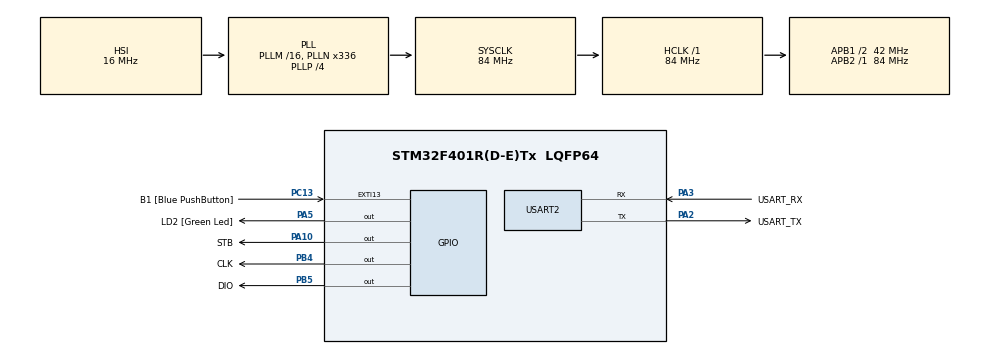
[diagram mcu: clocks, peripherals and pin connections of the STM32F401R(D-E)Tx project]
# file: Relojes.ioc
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Mcu.Family=STM32F4
Mcu.Name=STM32F401R(D-E)Tx
Mcu.Package=LQFP64
NVIC.PriorityGroup=NVIC_PRIORITYGROUP_4
PA10.GPIO_Label=STB
PA10.Signal=GPIO_Output
PA13.GPIO_Label=TMS
PA13.Mode=Trace_Asynchronous_SW
PA13.Signal=SYS_JTMS-SWDIO
PA14.GPIO_Label=TCK
PA14.Mode=Trace_Asynchronous_SW
PA14.Signal=SYS_JTCK-SWCLK
PA2.GPIO_Label=USART_TX
PA2.GPIO_Mode=GPIO_MODE_AF_PP
PA2.GPIO_PuPd=GPIO_NOPULL
PA2.GPIO_Speed=GPIO_SPEED_FREQ_LOW
PA2.Mode=Asynchronous
PA2.Signal=USART2_TX
PA3.GPIO_Label=USART_RX
PA3.GPIO_Mode=GPIO_MODE_AF_PP
PA3.GPIO_PuPd=GPIO_NOPULL
PA3.GPIO_Speed=GPIO_SPEED_FREQ_LOW
PA3.Mode=Asynchronous
PA3.Signal=USART2_RX
PA5.GPIO_Label=LD2 [Green Led]
PA5.GPIO_Mode=GPIO_MODE_OUTPUT_PP
PA5.GPIO_PuPd=GPIO_NOPULL
PA5.GPIO_Speed=GPIO_SPEED_FREQ_LOW
PA5.Signal=GPIO_Output
PB3.GPIO_Label=SWO
PB3.Mode=Trace_Asynchronous_SW
PB3.Signal=SYS_JTDO-SWO
PB4.GPIO_Label=CLK
PB4.Signal=GPIO_Output
PB5.GPIO_Label=DIO
PB5.Signal=GPIO_Output
PC13-ANTI_TAMP.GPIO_Label=B1 [Blue PushButton]
PC13-ANTI_TAMP.GPIO_ModeDefaultEXTI=GPIO_MODE_IT_FALLING
PC13-ANTI_TAMP.GPIO_PuPd=GPIO_NOPULL
PC13-ANTI_TAMP.Signal=GPXTI13
PC14-OSC32_IN.Mode=LSE-External-Oscillator
PC14-OSC32_IN.Signal=RCC_OSC32_IN
PC15-OSC32_OUT.Mode=LSE-External-Oscillator
PC15-OSC32_OUT.Signal=RCC_OSC32_OUT
PH0\ -\ OSC_IN.Mode=HSE-External-Clock-Source
PH0\ -\ OSC_IN.Signal=RCC_OSC_IN
PH1\ -\ OSC_OUT.Mode=HSE-External-Clock-Source
PH1\ -\ OSC_OUT.Signal=RCC_OSC_OUT
ProjectManager.HeapSize=0x200
ProjectManager.StackSize=0x400
ProjectManager.TargetToolchain=STM32CubeIDE
RCC.48MHZClocksFreq_Value=48000000
RCC.AHBFreq_Value=84000000
RCC.APB1CLKDivider=RCC_HCLK_DIV2
RCC.APB1Freq_Value=42000000
RCC.APB1TimFreq_Value=84000000
RCC.APB2Freq_Value=84000000
RCC.APB2TimFreq_Value=84000000
RCC.CortexFreq_Value=84000000
RCC.HCLKFreq_Value=84000000
RCC.HSE_VALUE=8000000
RCC.HSI_VALUE=16000000
RCC.PLLN=336
RCC.PLLP=RCC_PLLP_DIV4
RCC.PLLQ=7
RCC.SYSCLKFreq_VALUE=84000000
RCC.SYSCLKSource=RCC_SYSCLKSOURCE_PLLCLK
RCC.VCOOutputFreq_Value=336000000
USART2.VirtualMode=VM_ASYNC
board=NUCLEO-F401RE

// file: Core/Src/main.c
/* USER CODE BEGIN Header */
/**
  ******************************************************************************
  * @file           : main.c
  * @brief          : Main program body
  ******************************************************************************
  * @attention
  *
  * Copyright (c) 2026 STMicroelectronics.
  * All rights reserved.
  *
  * This software is licensed under terms that can be found in the LICENSE file
  * in the root directory of this software component.
  * If no LICENSE file comes with this software, it is provided AS-IS.
  *
  ******************************************************************************
  */
/* USER CODE END Header */
#include "main.h"
#include <stdio.h>

/* USER CODE BEGIN Includes */
#include "TM1638.h"
/* USER CODE END Includes */

/* USER CODE BEGIN PTD */
TM1638 TM;
#define TICK_MS 1000
/* USER CODE END PTD */

UART_HandleTypeDef huart2;

void SystemClock_Config(void);
static void MX_GPIO_Init(void);
static void MX_USART2_UART_Init(void);
/* USER CODE BEGIN PFP */
enum Estado{
	PARADO,
	TURNO_A,
	TURNO_B,
	PAUSA,
	FIN
};

void representacionTexto(char letra, int valor[3]){
	char caracteres[9];
	sprintf(caracteres, "%c %d.%d%d", letra, valor[2], valor[1], valor[0]);
	tm1638_DisplayTxt(&TM, caracteres);
}
void retrocesoCronometro(int valor[3]){
	valor[0]--;
	if(valor[0]<0){
		valor[0]=9;
		valor[1]--;
		if(valor[1]<0){
			valor[1]=5;
			valor[2]--;
			if(valor[2]<0){
				valor[0]=0;
				valor[1]=0;
				valor[2]=0;
			}
		}
	}
}
/* USER CODE END PFP */

int main(void)
{

  /* MCU Configuration--------------------------------------------------------*/

  /* Reset of all peripherals, Initializes the Flash interface and the Systick. */
  HAL_Init();

  /* Configure the system clock */
  SystemClock_Config();

  /* Initialize all configured peripherals */
  MX_GPIO_Init();
  MX_USART2_UART_Init();
  /* USER CODE BEGIN 2 */
  TM.clk_port=CLK_GPIO_Port;
  TM.clk_pin=CLK_Pin;
  TM.stb_port=STB_GPIO_Port;
  TM.stb_pin=STB_Pin;
  TM.dio_port=DIO_GPIO_Port;
  TM.dio_pin=DIO_Pin;

  tm1638_TurnOn(&TM, 7);
  tm1638_DisplayClear(&TM);

  int valorA[3]={0,0,2};
  int valorB[3]={0,0,2};
  static uint32_t tCuenta=0;
  tCuenta=HAL_GetTick();

  enum Estado estadoActual=PARADO;
  enum Estado estadoAnterior;
  int teclaAnterior=0;
  int ganador=0;
  /* USER CODE END 2 */

  /* Infinite loop */
  while (1)
  {
	  //Control de los botones
	  uint8_t teclas=tm1638_ScanButtons(&TM);
	  int teclaPulsada=tm1638_ReadKey(&TM, teclas);
	  if(teclaPulsada!=teclaAnterior && teclaPulsada!=0){
		  if(teclaPulsada==1){
			  if(estadoActual==PARADO || estadoActual==TURNO_B){
				  estadoActual=TURNO_A;
				  tCuenta=HAL_GetTick(); //Reinicia la base de tiempos
			  }
		  }else if(teclaPulsada==8){
			  if(estadoActual==PARADO || estadoActual==TURNO_A){
				  estadoActual=TURNO_B;
				  tCuenta=HAL_GetTick(); //Reinicia la base de tiempos
			  }
		  }else if(teclaPulsada==4){
			  if(estadoActual==TURNO_A || estadoActual==TURNO_B){
				  estadoAnterior=estadoActual;
				  estadoActual=PAUSA;
			  }else if(estadoActual==PAUSA){
				  estadoActual=estadoAnterior;
				  tCuenta=HAL_GetTick(); //Reinicia la base de tiempos
			  }else if(estadoActual==FIN){
				  //Reinicio de los relojes
				  valorA[0]=0; valorA[1]=0; valorA[2]=2;
				  valorB[0]=0; valorB[1]=0; valorB[2]=2;
				  estadoActual=PARADO;

			  }
		  }
	  }
	  teclaAnterior=teclaPulsada;

	  //Maquina de estados
	  switch(estadoActual){
	  	  case PARADO:
	  		  tm1638_DisplayTxt(&TM, "PArAdO");
	  		  break;
	  	  case TURNO_A:
	  		  //Encender los 4 primeros leds
	  		  for(int i=1; i<=8; i++){
	  			  tm1638_Led(&TM, i, i<=4?1:0);
	  		  }
	  		  if(HAL_GetTick()-tCuenta>=TICK_MS){
	  			  retrocesoCronometro(valorA);
	  			  representacionTexto('A', valorA);
	  			  if(valorA[0]==0 && valorA[1]==0 && valorA[2]==0){
	  				  ganador=1;
	  				  estadoActual=FIN;
	  			  }
	  			  tCuenta+=TICK_MS;
	  		  }
	  		  break;
	  	  case TURNO_B:
	  		  //Encender los 4 ultimos leds
	  		  for(int i=1; i<=8; i++){
	  			  tm1638_Led(&TM, i, i>4?1:0);
	  		  }
	  		  if(HAL_GetTick()-tCuenta>=TICK_MS){
	  			  retrocesoCronometro(valorB);
	  			  representacionTexto('b', valorB);
	  			  if(valorB[0]==0 && valorB[1]==0 && valorB[2]==0){
	  				  ganador=2;
	  				  estadoActual=FIN;
	  			  }
	  			  tCuenta+=TICK_MS;
	  		  }
	  		  break;
	  	  case PAUSA:
	  		  static uint32_t tAlternar=0;
	  		  static int alternar=0;
	  		  if(HAL_GetTick()-tAlternar>=500){
	  			  alternar=!alternar;
	  			  if(alternar){
	  				  tm1638_DisplayTxt(&TM, "PAUSA");
	  			  }else{
	  				  estadoAnterior==TURNO_A?representacionTexto('A', valorA):representacionTexto('b', valorB);
	  			  }
	  			  tAlternar=HAL_GetTick();
	  		  }
	  		  break;
	  	  case FIN:
	  		  ganador==1 ? tm1638_DisplayTxt(&TM, "Fin A"):tm1638_DisplayTxt(&TM, "Fin B");
	  		  static uint32_t tParpadeo=0;
	  		  static int estadoLeds=0;
	  		  if(HAL_GetTick()-tParpadeo>=250){
	  			  estadoLeds=!estadoLeds;
	  			  for(int i=1; i<=8; i++){
	  				  tm1638_Led(&TM, i, estadoLeds);
	  			  }
	  			  tParpadeo=HAL_GetTick();
	  		  }
	  		  break;
	  }
  }
}

void SystemClock_Config(void)
{
  RCC_OscInitTypeDef RCC_OscInitStruct = {0};
  RCC_ClkInitTypeDef RCC_ClkInitStruct = {0};

  /** Configure the main internal regulator output voltage
  */
  __HAL_RCC_PWR_CLK_ENABLE();
  __HAL_PWR_VOLTAGESCALING_CONFIG(PWR_REGULATOR_VOLTAGE_SCALE2);

  /** Initializes the RCC Oscillators according to the specified parameters
  * in the RCC_OscInitTypeDef structure.
  */
  RCC_OscInitStruct.OscillatorType = RCC_OSCILLATORTYPE_HSI;
  RCC_OscInitStruct.HSIState = RCC_HSI_ON;
  RCC_OscInitStruct.HSICalibrationValue = RCC_HSICALIBRATION_DEFAULT;
  RCC_OscInitStruct.PLL.PLLState = RCC_PLL_ON;
  RCC_OscInitStruct.PLL.PLLSource = RCC_PLLSOURCE_HSI;
  RCC_OscInitStruct.PLL.PLLM = 16;
  RCC_OscInitStruct.PLL.PLLN = 336;
  RCC_OscInitStruct.PLL.PLLP = RCC_PLLP_DIV4;
  RCC_OscInitStruct.PLL.PLLQ = 7;
  if (HAL_RCC_OscConfig(&RCC_OscInitStruct) != HAL_OK)
  {
    Error_Handler();
  }

  /** Initializes the CPU, AHB and APB buses clocks
  */
  RCC_ClkInitStruct.ClockType = RCC_CLOCKTYPE_HCLK|RCC_CLOCKTYPE_SYSCLK
                              |RCC_CLOCKTYPE_PCLK1|RCC_CLOCKTYPE_PCLK2;
  RCC_ClkInitStruct.SYSCLKSource = RCC_SYSCLKSOURCE_PLLCLK;
  RCC_ClkInitStruct.AHBCLKDivider = RCC_SYSCLK_DIV1;
  RCC_ClkInitStruct.APB1CLKDivider = RCC_HCLK_DIV2;
  RCC_ClkInitStruct.APB2CLKDivider = RCC_HCLK_DIV1;

  if (HAL_RCC_ClockConfig(&RCC_ClkInitStruct, FLASH_LATENCY_2) != HAL_OK)
  {
    Error_Handler();
  }
}

static void MX_USART2_UART_Init(void)
{

  huart2.Instance = USART2;
  huart2.Init.BaudRate = 115200;
  huart2.Init.WordLength = UART_WORDLENGTH_8B;
  huart2.Init.StopBits = UART_STOPBITS_1;
  huart2.Init.Parity = UART_PARITY_NONE;
  huart2.Init.Mode = UART_MODE_TX_RX;
  huart2.Init.HwFlowCtl = UART_HWCONTROL_NONE;
  huart2.Init.OverSampling = UART_OVERSAMPLING_16;
  if (HAL_UART_Init(&huart2) != HAL_OK)
  {
    Error_Handler();
  }

}

static void MX_GPIO_Init(void)
{
  GPIO_InitTypeDef GPIO_InitStruct = {0};

  /* GPIO Ports Clock Enable */
  __HAL_RCC_GPIOC_CLK_ENABLE();
  __HAL_RCC_GPIOH_CLK_ENABLE();
  __HAL_RCC_GPIOA_CLK_ENABLE();
  __HAL_RCC_GPIOB_CLK_ENABLE();

  /*Configure GPIO pin Output Level */
  HAL_GPIO_WritePin(GPIOA, LD2_Pin|STB_Pin, GPIO_PIN_RESET);

  /*Configure GPIO pin Output Level */
  HAL_GPIO_WritePin(GPIOB, CLK_Pin|DIO_Pin, GPIO_PIN_RESET);

  /*Configure GPIO pin : B1_Pin */
  GPIO_InitStruct.Pin = B1_Pin;
  GPIO_InitStruct.Mode = GPIO_MODE_IT_FALLING;
  GPIO_InitStruct.Pull = GPIO_NOPULL;
  HAL_GPIO_Init(B1_GPIO_Port, &GPIO_InitStruct);

  /*Configure GPIO pins : LD2_Pin STB_Pin */
  GPIO_InitStruct.Pin = LD2_Pin|STB_Pin;
  GPIO_InitStruct.Mode = GPIO_MODE_OUTPUT_PP;
  GPIO_InitStruct.Pull = GPIO_NOPULL;
  GPIO_InitStruct.Speed = GPIO_SPEED_FREQ_LOW;
  HAL_GPIO_Init(GPIOA, &GPIO_InitStruct);

  /*Configure GPIO pins : CLK_Pin DIO_Pin */
  GPIO_InitStruct.Pin = CLK_Pin|DIO_Pin;
  GPIO_InitStruct.Mode = GPIO_MODE_OUTPUT_PP;
  GPIO_InitStruct.Pull = GPIO_NOPULL;
  GPIO_InitStruct.Speed = GPIO_SPEED_FREQ_LOW;
  HAL_GPIO_Init(GPIOB, &GPIO_InitStruct);

}

void Error_Handler(void)
{
  __disable_irq();
  while (1)
  {
  }
}
